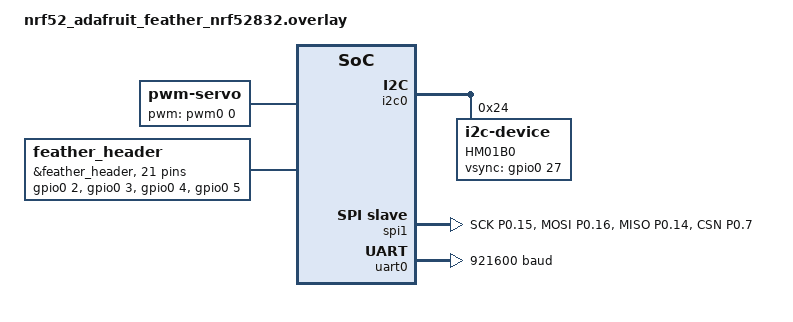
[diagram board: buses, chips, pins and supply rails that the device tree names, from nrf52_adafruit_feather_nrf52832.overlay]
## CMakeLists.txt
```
# SPDX-License-Identifier: Apache-2.0

cmake_minimum_required(VERSION 3.20.0)

find_package(Zephyr REQUIRED HINTS $ENV{ZEPHYR_BASE})
project(HIMAX-ZEPHYR-INTEGRATION-TESTING)

target_sources(app PRIVATE src/main.c)
target_sources(app PRIVATE src/HM01B0/HM01B0_CLK.c)
target_sources(app PRIVATE src/HM01B0/HM01B0_I2C.c)
target_sources(app PRIVATE src/HM01B0/HM01B0_SPI.c)
target_sources(app PRIVATE src/HM01B0/HM01B0_CAPTURE.c)
target_sources(app PRIVATE src/HM01B0/HM01B0_BLE.c)
target_sources(app PRIVATE src/HM01B0/HM01B0_UART.c)
target_sources(app PRIVATE src/spis_preinit.c)
target_sources(app PRIVATE src/ble_manager.c)
```

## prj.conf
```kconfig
CONFIG_I2C=y

CONFIG_GPIO=y

#CONFIG_LOG=n

CONFIG_SERIAL=y
CONFIG_UART_ASYNC_API=y
CONFIG_UART_CONSOLE=y
CONFIG_UART_INTERRUPT_DRIVEN=y
CONFIG_RING_BUFFER=y

CONFIG_SPI=y
# Enable SPI slave (SPIS) driver support
CONFIG_SPI_SLAVE=y
CONFIG_SPI_NRFX=y
CONFIG_NRFX_PPI=y
CONFIG_NRFX_GPIOTE0=y
CONFIG_NRFX_GPPI=y
# Use the nrfx SPIS driver instance
CONFIG_NRFX_SPIS1=y


#CONFIG_CORTEX_M_DEBUG_MONITOR_HOOK=y
#CONFIG_SEGGER_DEBUGMON=y

# Increase stack and heap to accommodate large image buffers
#CONFIG_MAIN_STACK_SIZE=4096
#CONFIG_IDLE_STACK_SIZE=1024
#CONFIG_SYSTEM_WORKQUEUE_STACK_SIZE=2048
CONFIG_HEAP_MEM_POOL_SIZE=10240

CONFIG_LOG=y
CONFIG_USE_SEGGER_RTT=y
CONFIG_LOG_BACKEND_RTT=y

#CONFIG_PWM=y
CONFIG_DEVICE_MUTABLE=y

CONFIG_NRFX_TIMER3=y
#CONFIG_NRFX_TIMER0=y

CONFIG_LOG_DEFAULT_LEVEL=3

CONFIG_BT=y
CONFIG_BT_PERIPHERAL=y
CONFIG_BT_DEVICE_NAME="insect_cam"
CONFIG_BT_MAX_CONN=1


# HCI ACL buffers size
CONFIG_BT_BUF_ACL_RX_SIZE=251

# L2CAP SDU/PDU TX MTU
CONFIG_BT_L2CAP_TX_MTU=247
```

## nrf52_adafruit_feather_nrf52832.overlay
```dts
// To get started, press Ctrl+Space (or Option+Esc) to bring up the completion menu and view the available nodes.

// You can also use the buttons in the sidebar to perform actions on nodes.
// Actions currently available include:

// * Enabling / disabling the node
// * Adding the bus to a bus
// * Removing the node
// * Connecting ADC channels

// For more help, browse the DeviceTree documentation at https://docs.zephyrproject.org/latest/guides/dts/index.html
// You can also visit the nRF DeviceTree extension documentation at https://docs.nordicsemi.com/bundle/nrf-connect-vscode/page/guides/ncs_configure_app.html#devicetree-support-in-the-extension


/ {
	servo: servo {
		compatible = "pwm-servo";
		pwms = <&pwm0 0 PWM_NSEC(333) PWM_POLARITY_NORMAL>;
		min-pulse = <PWM_NSEC(100)>;
		max-pulse = <PWM_USEC(2500)>;
	};
};

&i2c0 {
    status = "okay";
    pinctrl-0 = <&i2c0_default>;
	pinctrl-1 = <&i2c0_sleep>;
    pinctrl-names = "default", "sleep";
    HM01B0: HM01B0@24{
        compatible = "i2c-device";
        status = "okay";
        reg = < 0x24 >;
        vsync-gpios = <&gpio0 27 0>;
        
    };
};



&spi0 {
    compatible = "nordic,nrf-spis"; 
    status = "disabled";
    pinctrl-0 = <&spi1_default>;
    pinctrl-1 = <&spi1_sleep>;
    pinctrl-names = "default", "sleep";
    def-char = <0>;
};
&i2c1 { status = "disabled";}; 
&spi1 {
 compatible = "nordic,nrf-spis";
 status = "okay";
 pinctrl-0 = <&spi1_default>;
 pinctrl-1 = <&spi1_sleep>;
 pinctrl-names = "default", "sleep";
 def-char = <0>;
 gendev: gendev@0 {
    compatible = "adi,adxl362";
    reg = <0>;
    spi-max-frequency = <36000000>;
};
};




&pwm0 {
	status = "disabled";
	pinctrl-0 = <&pwm0_custom>;
	pinctrl-1 = <&pwm0_csleep>;
	pinctrl-names = "default", "sleep";
   };

&pinctrl {
    spi1_default: spi1_default {
    group1 {
    psels = <NRF_PSEL(SPIS_SCK, 0, 15)>,
						<NRF_PSEL(SPIS_MOSI, 0, 16)>,
						<NRF_PSEL(SPIS_MISO, 0, 14)>,
						<NRF_PSEL(SPIS_CSN, 0, 7)>;
    };
};
    spi1_sleep: spi1_sleep {
    group1 {
    psels = <NRF_PSEL(SPIS_SCK, 0, 15)>,
						<NRF_PSEL(SPIS_MOSI, 0, 16)>,
						<NRF_PSEL(SPIS_MISO, 0, 14)>,
                        <NRF_PSEL(SPIS_CSN, 0, 7)>;
    low-power-enable;
    };
};

    pwm0_custom: pwm0_custom {
	group1 {
	psels = <NRF_PSEL(PWM_OUT0, 0, 3)>;
	nordic,invert;
	};
	};  pwm0_csleep: pwm0_csleep {
	group1 {
	psels = <NRF_PSEL(PWM_OUT0, 0, 3)>;
	low-power-enable;
	};
	};
};




&uart0 {
    compatible = "nordic,nrf-uarte";
    current-speed = <921600>;
};


/{
    aliases {
        hmm = &HM01B0;
    };
};



&feather_header {
    gpio-map = <0 0 &gpio0 2 0>,
               <1 0 &gpio0 3 0>,
               <2 0 &gpio0 4 0>,
               <3 0 &gpio0 5 0>,
               <4 0 &gpio0 28 0>,
               <5 0 &gpio0 29 0>,
               <6 0 &gpio0 12 0>,
               <7 0 &gpio0 13 0>,
               <8 0 &gpio0 14 0>,
               <9 0 &gpio0 8 0>,
               <10 0 &gpio0 6 0>,
               <11 0 &gpio0 20 0>,
               <12 0 &gpio0 25 0>,
               <13 0 &gpio0 26 0>,
               <14 0 &gpio0 27 0>,
               <15 0 &gpio0 30 0>,
               <16 0 &gpio0 31 0>,
               <17 0 &gpio0 11 0>,
               <18 0 &gpio0 7 0>,
               <19 0 &gpio0 15 0>,
               <20 0 &gpio0 16 0>;
};
```

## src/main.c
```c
/*
* HM01B0 capture example – interrupt driven, DMA-ready version
*
* Copyright (c) 2024 Open Pixel Systems
* SPDX-License-Identifier: Apache-2.0
*/




#include <zephyr/kernel.h>
#include <zephyr/device.h>
#include <zephyr/devicetree.h>
#include <zephyr/drivers/gpio.h>


#include <zephyr/drivers/uart.h>
#include <zephyr/sys/printk.h>
#include <zephyr/sys/atomic.h>
#include <hal/nrf_power.h>
#include <hal/nrf_clock.h>



//#include <drivers/spi/spi_nrfx_spis.h>

#include <zephyr/drivers/pwm.h>




#include "HM01B0/HM01B0_def_values.h"
#include "HM01B0/HM01B0_CAPTURE.h"
#include "HM01B0/HM01B0_BLE.h"

struct k_fifo my_fifo_uart;
struct k_fifo my_fifo_ble;



int main(void)
{

    //printk("HM01B0 Capture Example\n");
    k_fifo_init(&my_fifo_uart);
    k_fifo_init(&my_fifo_ble);
    setup_cam_capture(&my_fifo_uart, &my_fifo_ble);
    setup_cam_capture_fifo(&my_fifo_uart);
    hm_ble_init(&my_fifo_ble);
    /* leave this on forever */
    //spispec.config = spi_cfg_pwr1;
    //hm_ble_init(&my_fifo);
    if (!device_is_ready(uart_dev)      ||
        !device_is_ready(dev_i2c.bus)   ||
        !device_is_ready(gpio0_dev)     ||
        !device_is_ready(spis_dev.bus)) {
        printk("Device not ready\n");
        return -ENODEV;
    }


    //run_peripheral_step(0);
/* --- CSN pin -------------------------------------------------------- */
    uint8_t addr_readback[2];
    uint8_t val;

    /* BIT_CONTROL should read back 0x20 for 1-bit serial mode. */
    addr_readback[0] = 0x03; addr_readback[1] = 0x50;
    if (i2c_write_read_dt(&dev_i2c, addr_readback, 2, &val, 1) == 0)
        printk("QVGA win (0x0350) = 0x%02X\n", val);

    /* OSC_CLK_DIV should read back 0x00 (MSB-first, ÷8, non-gated). */
    addr_readback[0] = 0x03; addr_readback[1] = 0x81;
    if (i2c_write_read_dt(&dev_i2c, addr_readback, 2, &val, 1) == 0)
        printk("BIN_RDOUT_Y (0x0381) = 0x%02X\n", val);

    /* TEST_PATTERN_MODE – should be 0x00 (disabled) */
    addr_readback[0] = 0x10; addr_readback[1] = 0x06;
    if (i2c_write_read_dt(&dev_i2c, addr_readback, 2, &val, 1) == 0)
        printk("IMG_MODE_SEL (0x1006) = 0x%02X\n", val);
    /* ------------------------- main loop ---------------------------------- */
    printk("Starting capture loop\n");
    stream_photos();
}
```

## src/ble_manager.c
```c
/*
 * Copyright (c) 2023 Nordic Semiconductor ASA
 *
 * SPDX-License-Identifier: Apache-2.0
 * 
 * Author: tekritesh@github.com
 */

#include <zephyr/bluetooth/gatt.h>
#include <zephyr/kernel.h>
#include <stddef.h>
#include <stdint.h>
#include <zephyr/sys/printk.h>

#include <zephyr/bluetooth/bluetooth.h>
#include <zephyr/bluetooth/conn.h>
#include <zephyr/bluetooth/uuid.h>
#include <zephyr/sys/util.h>
#include "HM01B0/HM01B0_def_values.h"

#define BT_UUID_IMG_SERVICE_VAL \
    BT_UUID_128_ENCODE(0x6e400001, 0xb5a3, 0xf393, 0xe0a9, 0xe50e24dcca3e)
#define BT_UUID_IMG_RX_VAL \
    BT_UUID_128_ENCODE(0x6e400002, 0xb5a3, 0xf393, 0xe0a9, 0xe50e24dcca3e)
#define BT_UUID_IMG_TX_VAL \
    BT_UUID_128_ENCODE(0x6e400003, 0xb5a3, 0xf393, 0xe0a9, 0xe50e24dcca3e)
#define BT_UUID_IMG_INFO_VAL \
    BT_UUID_128_ENCODE(0x6e400004, 0xb5a3, 0xf393, 0xe0a9, 0xe50e24dcca3e)

/* Overhead: opcode (u8) + handle (u16) */
#define ATT_NTF_SIZE(payload_len) (1 + 2 + payload_len)

// #define IMG_WIDTH  160
// #define IMG_HEIGHT 119
// extern uint8_t image[];

#define CHUNK_SIZE CONFIG_BT_L2CAP_TX_MTU




// BLE Characteristics
static const struct bt_uuid_128 insect_cam_service = BT_UUID_INIT_128(BT_UUID_IMG_SERVICE_VAL);

static const struct bt_uuid_128 tx_characteristic_uuid = BT_UUID_INIT_128(BT_UUID_IMG_TX_VAL);

static const struct bt_uuid_128 rx_characteristic_uuid = BT_UUID_INIT_128(BT_UUID_IMG_RX_VAL);

static const struct bt_uuid_128 img_info_characteristic_uuid = BT_UUID_INIT_128(BT_UUID_IMG_INFO_VAL);

static const struct bt_data adv_ad_data[] = {
	BT_DATA_BYTES(BT_DATA_FLAGS, (BT_LE_AD_GENERAL | BT_LE_AD_NO_BREDR)),
	BT_DATA_BYTES(BT_DATA_UUID128_ALL, BT_UUID_IMG_SERVICE_VAL),
	BT_DATA(BT_DATA_NAME_COMPLETE, CONFIG_BT_DEVICE_NAME, sizeof(CONFIG_BT_DEVICE_NAME) - 1),
};


// BLE Variables
struct bt_conn *default_conn;
static struct k_sem conn_sem;
static struct k_work advertise_work;


// Stream-specific state
uint16_t ble_mtu = 0;
uint8_t tx_state = 0;

bool char_tx = false;
bool notif_state[2] = {false, false};

static ssize_t on_rx_received(struct bt_conn *conn,
                              const struct bt_gatt_attr *attr,
                              const void *buf,
                              uint16_t len,
                              uint16_t offset,
                              uint8_t flags);

/* Implemented in this file; referenced by BLE streamer */
void send_large_data(uint8_t *image);

static const struct bt_gatt_attr *notify_attr_global = NULL;




void advertising_work_handler(struct k_work *work) {
	bt_le_adv_start(BT_LE_ADV_CONN_ONE_TIME, adv_ad_data, ARRAY_SIZE(adv_ad_data), NULL, 0);
}

static void ccc_cfg_changed_tx(const struct bt_gatt_attr *attr, uint16_t value) {
    bool notif_enabled = (value == BT_GATT_CCC_NOTIFY);
    notif_state[1] = notif_enabled;
    printk("Tx Notifications %s\n", notif_enabled ? "enabled" : "disabled");

}

static void ccc_cfg_changed_img_info(const struct bt_gatt_attr *attr, uint16_t value) {
    bool notif_enabled = (value == BT_GATT_CCC_NOTIFY);
    notif_state[0] = notif_enabled;
    printk("Img Info Notifications %s\n", notif_enabled ? "enabled" : "disabled");

}
         
BT_GATT_SERVICE_DEFINE(
    insect_cam,
    BT_GATT_PRIMARY_SERVICE(&insect_cam_service),
    BT_GATT_CHARACTERISTIC(&tx_characteristic_uuid.uuid,(BT_GATT_CHRC_NOTIFY), (BT_GATT_PERM_NONE), NULL, NULL, NULL),
    BT_GATT_CCC(ccc_cfg_changed_tx, BT_GATT_PERM_READ | BT_GATT_PERM_WRITE),
    BT_GATT_CHARACTERISTIC(&img_info_characteristic_uuid.uuid,(BT_GATT_CHRC_NOTIFY), (BT_GATT_PERM_NONE), NULL, NULL, NULL),
    BT_GATT_CCC(ccc_cfg_changed_img_info, BT_GATT_PERM_READ | BT_GATT_PERM_WRITE),
    BT_GATT_CHARACTERISTIC(&rx_characteristic_uuid.uuid,(BT_GATT_CHRC_WRITE_WITHOUT_RESP | BT_GATT_CHRC_WRITE), BT_GATT_PERM_WRITE, NULL, on_rx_received, NULL)
    );

void send_large_data(uint8_t *image) {
    struct bt_conn *conn = default_conn;
    if (!conn){
        printk("No active connection\n");
        return;
    }  
    notify_attr_global = bt_gatt_find_by_uuid(insect_cam.attrs, 0xffff, &tx_characteristic_uuid.uuid);

    if (!notify_attr_global) {
        printk("Tx Notify attribute not found!\n");
        return;
    }
    
    uint16_t current_mtu = bt_gatt_get_uatt_mtu(conn);
    uint16_t max_payload = (current_mtu > 3) ? (current_mtu - 3) : 20;  // ATT notification overhead

    // size_t img_size = IMG_WIDTH*IMG_HEIGHT;

    uint16_t offset = 0;
    uint16_t counter = 0;

    // if(notif_state[1]){ //ensure that the Tx Notif is Enabled

        while(offset < IMAGE_SIZE){
            uint16_t len = MIN(max_payload, IMAGE_SIZE - offset);
            
            int err = bt_gatt_notify(conn, notify_attr_global, &image[offset], len);
            if (err) {
                printk("Img Tx Notify failed: %d\n", err);
                tx_state = 0;
                    // return;
            }else{
                printk("Tx pkt:i[%d] L[%d] S[%d]\n",counter,len,offset);
            }
            
            k_sleep(K_MSEC(1));
            counter++;
            offset +=len;

        }
    counter = 0;

    // } else {
        
        // printk("Unable to Enable Tx Notifications\n");
        // return;
    // }
    
}


static ssize_t on_rx_received(struct bt_conn *conn,
                              const struct bt_gatt_attr *attr,
                              const void *buf,
                              uint16_t len,
                              uint16_t offset,
                              uint8_t flags) {
    printk("RX received %d bytes -->", len);

    const uint8_t *rx_data = buf;
    for (uint8_t i = 0; i< len; i++){
        printk("%x",rx_data[i]);
    }
    printk("\n");

    char_tx = true;


    if (len == 1 && rx_data[0] == 1){
        tx_state = 1;
        printk("Enabling Single Image..\n");
        // send_large_data(conn);
    }

    if (len == 1 && rx_data[0] == 2){
        printk("Enabling Stream..\n");
        tx_state = 2;
        // send_large_data(conn);
    }

    if(len == 1 && rx_data[0] == 3){ 
        printk("Disabling Stream..\n");
        tx_state = 0;

    }

    return len;
}



void mtu_updated(struct bt_conn *conn, uint16_t tx, uint16_t rx) {
	printk("Updated MTU: TX: %d RX: %d bytes\n", tx, rx);
}

static struct bt_gatt_cb gatt_callbacks = {
	.att_mtu_updated = mtu_updated,
};

static void connected(struct bt_conn *conn, uint8_t err) {
	if (err != 0) {
		return;
	}

	default_conn = bt_conn_ref(conn);
	k_sem_give(&conn_sem);
}

static void disconnected(struct bt_conn *conn, uint8_t reason) {
	bt_conn_unref(conn);
	default_conn = NULL;
	k_work_submit(&advertise_work);
}

BT_CONN_CB_DEFINE(conn_callbacks) = {
	.connected = connected,
	.disconnected = disconnected,
};

void init_ble(){

    int err;

	err = bt_enable(NULL);
	if (err) {
		printk("Bluetooth init failed (err %d)\n", err);
		return;
	}

	k_sem_init(&conn_sem, 0, 1);
	bt_gatt_cb_register(&gatt_callbacks);

	k_work_init(&advertise_work, advertising_work_handler);

    
	bt_le_adv_start(BT_LE_ADV_CONN_ONE_TIME, adv_ad_data, ARRAY_SIZE(adv_ad_data), NULL, 0);
	

    

}

void run_peripheral_step(uint16_t seconds) {

    // int err;

	// err = bt_enable(NULL);
	// if (err) {
	// 	printk("Bluetooth init failed (err %d)\n", err);
	// 	return;
	// }

	// k_sem_init(&conn_sem, 0, 1);
	// bt_gatt_cb_register(&gatt_callbacks);

	// k_work_init(&advertise_work, advertising_work_handler);

    
	// bt_le_adv_start(BT_LE_ADV_CONN_ONE_TIME, adv_ad_data, ARRAY_SIZE(adv_ad_data), NULL, 0);
	

	// bool infinite = seconds == 0;

    // struct bt_gatt_attr *img_info_notify_attr_global = bt_gatt_find_by_uuid(insect_cam.attrs, 0xffff, &img_info_characteristic_uuid.uuid);

    // if (!img_info_notify_attr_global) {
    //     printk("Img Info notify attribute not found!\n");
    //     return;
    // }
    struct bt_gatt_attr *img_info_notify_attr_global = bt_gatt_find_by_uuid(insect_cam.attrs, 0xffff, &img_info_characteristic_uuid.uuid);

    if (!img_info_notify_attr_global) {
        printk("Img Info notify attribute not found!\n");
        return;
    }

	// for (int i = 0; (i < seconds) || infinite; i++) {
		if (default_conn == NULL) {
			k_sem_take(&conn_sem, K_FOREVER);
		}

		// k_sleep(K_MSEC(5));
		if (default_conn == NULL) {
			printk("Idle,Ready to Pair....\n");
            ble_mtu = 0;
            tx_state = 0;
		/* Only send the notification if the UATT MTU supports the required length */
		} else {
            

            // if (notif_state[0]){ //Ensure that the IMG Info Notif is Enabled
                
                uint16_t current_mtu = bt_gatt_get_uatt_mtu(default_conn);
                
                if ((char_tx == true )|| (current_mtu != ble_mtu)){
                    ble_mtu = current_mtu;
                    char_tx = false;
                    uint8_t img_info[7] = {tx_state,current_mtu & 0xFF,(current_mtu >> 8) & 0xFF,24 & 0xFF,(24 >> 8) & 0xFF,1,1};
                    int err = bt_gatt_notify(default_conn, img_info_notify_attr_global, &img_info, 7);
                    if (err) {
                        printk("Img Information Notify failed: %d\n", err);
                    }else{
                        printk("Tx pkt:tx[%d] mtu[%d]\n",tx_state,current_mtu);
                    }
                }

            // }else{
                    // printk("Unable to Enable Img Info Notifications\n
                    // return;
            
            // }
            
            /* Streaming is handled by the BLE streaming worker thread. */

		}
	// }
}
```

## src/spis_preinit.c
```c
#include <zephyr/device.h>
#include <zephyr/drivers/gpio.h>
#include <zephyr/init.h>

/* Ensure SPIS CSN pin (P0.7) is pulled up before the SPIS driver probes.
 * Some external devices may hold the line low at reset, which causes the
 * nrfx SPIS init to fail. By configuring a pull-up early, we avoid an
 * asserted CSN during probe.
 */
static int spis_csn_pullup_init(const struct device *dev)
{
    ARG_UNUSED(dev);
    const struct device *gpio = DEVICE_DT_GET(DT_NODELABEL(gpio0));
    if (!device_is_ready(gpio)) {
        return 0;
    }
    gpio_pin_configure(gpio, 7, GPIO_INPUT | GPIO_PULL_UP);
    return 0;
}

SYS_INIT(spis_csn_pullup_init, PRE_KERNEL_1, 0);
```
